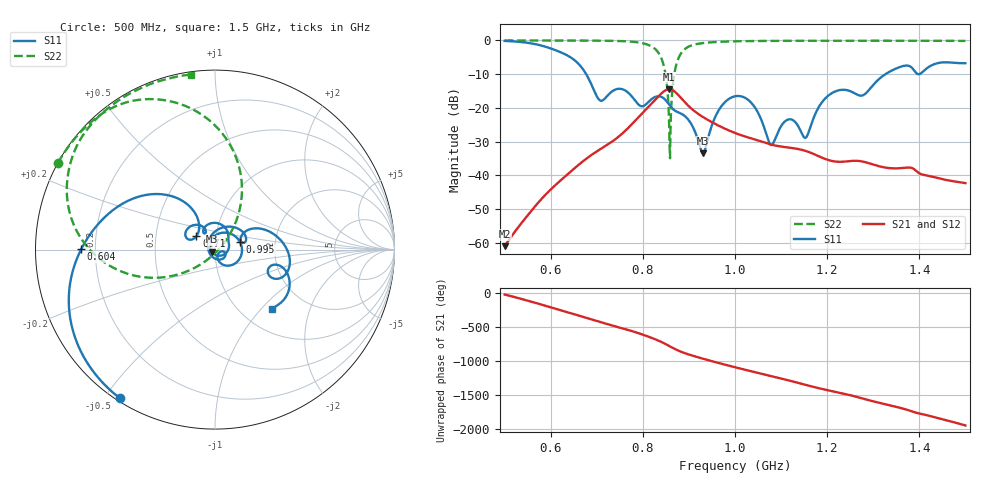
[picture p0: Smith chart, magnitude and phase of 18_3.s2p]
! TOUCHSTONE file generated by CST MICROWAVE STUDIO
! Date and time: Fri Oct  2 16:38:26 2020
! Project name: Scenario_1_Free_Space_out_of_line.cst
! Parameters = {Lambda=346.42; Step_1=17.321; dy1=52.843; dx1=520; L_HA=400; MT=2.54; Rad_Dielectric=30; Rad_Lower=7.3; Rad_Upper=30; a_HA=580; a_WG=246; b_HA=500; b_WG=121; c_HA=0; c_WG=187; d_feed=85; h_feed=15; h_lower=18; h_upper=40}
! Header version: 2018
! Port assignment regex: !\s*Touchstone port\s*([0-9]+)\s*=\s*(CST MWS port|CST DS port)\s*([0-9]+|Zmin|Zmax)\s*\(\"(.*)\"\)(\s*mode\s*([0-9]+))?.*
! Touchstone port assignment:
! Touchstone port 1 = CST MWS port 1 ("")
! Touchstone port 2 = CST MWS port 2 ("")
# GHz S DB R 50
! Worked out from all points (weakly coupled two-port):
!   1003 points, 500 MHz to 1.5 GHz, reference 50 ohm
!   highest |S21| = -14.45 dB at 857 MHz (marker M1); lowest = -61.0 dB at 500 MHz (marker M2)
!   lowest |S11| = -33.4 dB at 931 MHz (marker M3), VSWR 1.04, Z = 48.2 - j1.12 ohm
!   |S11| at or under -10 dB: 677 MHz to 1.326 GHz (649.4 MHz wide, 64.8 % of centre); 1.397548 GHz to 1.399278 GHz (1.73 MHz wide, 0.124 % of centre)
!   |S22| runs from -34.9 to 0.0 dB; largest |S21 - S12| = 2.2e-05
!   S11 on the Smith chart (normalised r, x): 500 MHz: 0.01, -0.55; 604 MHz: 0.15, +0.00; 710 MHz: 0.80, +0.12; 995 MHz: 1.32, +0.11; 1.5 GHz: 1.36, -1.15
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0.5  -0.15 -122.6  -60.95 -18.8  -60.95 -18.8  -0.01 151.1
0.604  -2.56 179.8  -43.64 144.6  -43.64 144.6  -0.02 143.8
0.667  -7.98 130.7  -36.13 18.3  -36.13 18.3  -0.04 138.3
0.71  -17.88 144.5  -32.04 -69.6  -32.04 -69.6  -0.08 133.6
0.785  -18.13 115.7  -23.55 144.1  -23.55 144.1  -0.50 118.3
0.834  -16.52 92.1  -16.53 21.0  -16.53 21.0  -3.69 86.9
0.848  -17.48 64.5  -14.87 -24.3  -14.87 -24.3  -9.10 64.7
0.857  -18.97 49.4  -14.45 -56.9  -14.45 -56.9  -24.38 35.8
0.879  -21.41 24.3  -16.48 -131.3  -16.48 -131.3  -4.76 -170.1
0.931  -33.40 -147.3  -22.73 114.1  -22.73 114.1  -0.77 153.8
0.962  -21.32 81.6  -25.09 56.2  -25.09 56.2  -0.44 146.3
0.995  -16.74 16.8  -27.14 -2.0  -27.14 -2.0  -0.27 140.9
1  -16.54 7.9  -27.41 -10.5  -27.41 -10.5  -0.26 140.2
1.04  -19.24 -54.9  -29.23 -78.7  -29.22 -78.6  -0.18 135.4
1.078  -30.98 -43.3  -30.83 -142.0  -30.83 -142.0  -0.14 131.6
1.113  -23.56 -29.5  -31.68 160.8  -31.68 160.8  -0.11 128.5
1.152  -28.86 -155.3  -32.67 91.5  -32.68 91.5  -0.10 125.4
1.167  -24.31 125.0  -33.42 64.7  -33.42 64.7  -0.10 124.2
1.208  -15.80 50.8  -35.64 0.8  -35.64 0.8  -0.08 121.0
1.277  -16.27 21.8  -35.87 -112.3  -35.87 -112.3  -0.09 115.8
1.334  -9.37 14.5  -37.81 151.0  -37.81 151.0  -0.09 111.4
1.5  -6.74 -46.4  -42.27 -149.4  -42.28 -149.3  -0.14 97.8
